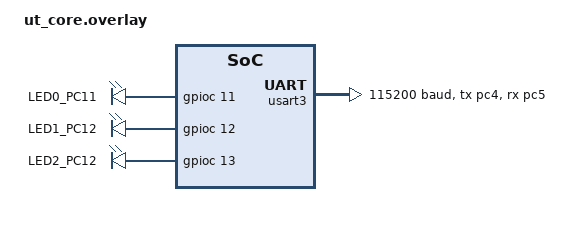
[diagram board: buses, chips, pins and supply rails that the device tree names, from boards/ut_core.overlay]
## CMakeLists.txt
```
cmake_minimum_required(VERSION 3.20.0)

set(BOARD ut_core)

find_package(Zephyr REQUIRED HINTS $ENV{ZEPHYR_BASE})
project(blinky)

target_sources(app PRIVATE src/main.c)
```

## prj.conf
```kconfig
# --- FLASH ---
CONFIG_FLASH=y
CONFIG_FLASH_MAP=y
CONFIG_MPU_ALLOW_FLASH_WRITE=y

# --- DMA / CACHE ---
CONFIG_DMA=n
CONFIG_SPI_STM32_DMA=n
CONFIG_CACHE_MANAGEMENT=y

# --- PERIPHERALS ---
CONFIG_GPIO=y
CONFIG_CAN=n
CONFIG_SPI=y
CONFIG_SPI_STM32=y
CONFIG_CAN_STM32_FDCAN=n

# --- CONSOLE (UART) ---
CONFIG_CONSOLE=y
CONFIG_STDOUT_CONSOLE=y
CONFIG_UART_CONSOLE=y
CONFIG_SERIAL=y

# --- RTT (disabled) ---
CONFIG_USE_SEGGER_RTT=n
CONFIG_RTT_CONSOLE=n

# --- PRINTK / LOGGING ---
CONFIG_PRINTK=y
CONFIG_LOG=n
CONFIG_LOG_BACKEND_RTT=n
CONFIG_LOG_BACKEND_UART=y
CONFIG_LOG_MODE_IMMEDIATE=y

# --- SEMIHOSTING (disabled) ---
CONFIG_SEMIHOST=n
CONFIG_SEMIHOST_CONSOLE=n

# --- POWER MANAGEMENT (disabled) ---
CONFIG_PM=n
CONFIG_PM_DEVICE=n
CONFIG_PM_DEVICE_RUNTIME=n
CONFIG_TICKLESS_KERNEL=n
```

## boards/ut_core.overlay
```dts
/ {
	pins {
		compatible = "gpio-leds";

		led0: led_0 {
			gpios = <&gpioc 11 GPIO_ACTIVE_HIGH>;
			label = "LED0_PC11";
		};

		led1: led_1 {
			gpios = <&gpioc 12 GPIO_ACTIVE_HIGH>;
			label = "LED1_PC12";
		};

		led2: led_2 {
			gpios = <&gpioc 13 GPIO_ACTIVE_HIGH>;
			label = "LED2_PC12";
		};

	};

	chosen {
		zephyr,console = &usart3;
	};
};

&pinctrl {
	usart3_tx_pc4: usart3_tx_pc4 {
		pinmux = <STM32_PINMUX('C', 4, AF7)>;
	};

	usart3_rx_pc5: usart3_rx_pc5 {
		pinmux = <STM32_PINMUX('C', 5, AF7)>;
	};
};

&usart3 {
	status = "okay";
	current-speed = <115200>;
	pinctrl-0 = <&usart3_tx_pc4 &usart3_rx_pc5>;
	pinctrl-names = "default";
};
```

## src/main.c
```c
/*
 * Copyright (c) 2016 Intel Corporation
 *
 * SPDX-License-Identifier: Apache-2.0
 */

#include <stdio.h>
#include <zephyr/kernel.h>
#include <zephyr/sys/printk.h>
#include <zephyr/drivers/gpio.h>

/* Sleep interval between LED toggles: 1000 msec = 1 sec */
#define SLEEP_TIME_MS   1000

/* Devicetree node identifiers for the three LED aliases (led0, led1, led2) */
#define LED0_NODE DT_ALIAS(led0)
#define LED1_NODE DT_ALIAS(led1)
#define LED2_NODE DT_ALIAS(led2)

/*
 * GPIO device specifications initialized from devicetree.
 * Each gpio_dt_spec structure contains GPIO port info and pin configuration.
 * A build error here means your board doesn't have these LED aliases defined.
 * See the sample documentation for information on how to fix this.
 */
static const struct gpio_dt_spec led0 = GPIO_DT_SPEC_GET(LED0_NODE, gpios);
static const struct gpio_dt_spec led1 = GPIO_DT_SPEC_GET(LED1_NODE, gpios);
static const struct gpio_dt_spec led2 = GPIO_DT_SPEC_GET(LED2_NODE, gpios);

int main(void)
{
    int ret;
    bool led_state = true;

    /* Check if the GPIO driver is ready for LED0 */
    if (!gpio_is_ready_dt(&led0)) {
        printk("LED0 GPIO device is not ready\n");
        return 0;
    }

    /* Check if the GPIO driver is ready for LED1 */
    if (!gpio_is_ready_dt(&led1)) {
        printk("LED1 GPIO device is not ready\n");
        return 0;
    }

    /* Check if the GPIO driver is ready for LED2 */
    if (!gpio_is_ready_dt(&led2)) {
        printk("LED2 GPIO device is not ready\n");
        return 0;
    }

    /* Configure LED0 as a GPIO output pin, starting in active (on) state */
    ret = gpio_pin_configure_dt(&led0, GPIO_OUTPUT_ACTIVE);
    if (ret < 0) {
        printk("Failed to configure LED0\n");
        return 0;
    }

    /* Configure LED1 as a GPIO output pin, starting in active (on) state */
    ret = gpio_pin_configure_dt(&led1, GPIO_OUTPUT_ACTIVE);
    if (ret < 0) {
        printk("Failed to configure LED1\n");
        return 0;
    }

    /* Configure LED2 as a GPIO output pin, starting in active (on) state */
    ret = gpio_pin_configure_dt(&led2, GPIO_OUTPUT_ACTIVE);
    if (ret < 0) {
        printk("Failed to configure LED2\n");
        return 0;
    }

    printf("All three LEDs configured successfully. Starting sequential blink cycle...\n");

    /* Main infinite loop that blinks each LED sequentially */
    while (1) {
        /* Toggle LED0 state (on to off, or off to on) */
        ret = gpio_pin_toggle_dt(&led0);
        if (ret < 0) {
            printk("Failed to toggle LED0\n");
            return 0;
        }
        printk("LED0 toggled\n");

        /* Sleep before moving to the next LED */
        k_msleep(SLEEP_TIME_MS);

        /* Toggle LED1 state (on to off, or off to on) */
        ret = gpio_pin_toggle_dt(&led1);
        if (ret < 0) {
            printk("Failed to toggle LED1\n");
            return 0;
        }
        printk("LED1 toggled\n");

        /* Sleep before moving to the next LED */
        k_msleep(SLEEP_TIME_MS);

        /* Toggle LED2 state (on to off, or off to on) */
        ret = gpio_pin_toggle_dt(&led2);
        if (ret < 0) {
            printk("Failed to toggle LED2\n");
            return 0;
        }
        printk("LED2 toggled\n");

        /* Sleep before the sequence repeats */
        k_msleep(SLEEP_TIME_MS);
    }
    return 0;
}
```
